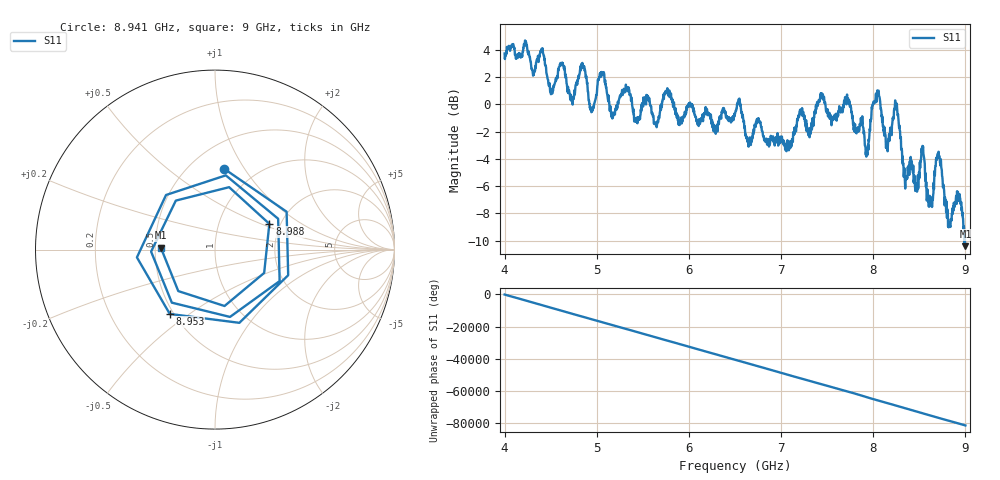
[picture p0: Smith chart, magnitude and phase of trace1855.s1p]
! Created with skrf 1.8.0 (http://scikit-rf.org).
# Hz S RI R 50.0
!freq ReS11 ImS11
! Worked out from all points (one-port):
!   1601 points, 4 GHz to 9 GHz, reference 50 ohm
!   lowest |S11| = -10.4 dB at 9 GHz (marker M1), VSWR 1.86, Z = 26.8 + j0.624 ohm
!   |S11| at or under -10 dB: 8.989742 GHz to 8.99354 GHz (3.799 MHz wide, 0.0422 % of centre); 8.994723 GHz to end of sweep
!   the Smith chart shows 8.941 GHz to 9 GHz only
!   S11 on the Smith chart (normalised r, x): 8.941 GHz: 0.72, +0.82; 8.953 GHz: 0.48, -0.42; 8.988 GHz: 1.75, +0.57; 9 GHz: 0.54, +0.01
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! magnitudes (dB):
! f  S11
! 4 GHz  3.7
! 4.406 GHz  3.8
! 4.503 GHz  0.7
! 4.625 GHz  3.1
! 4.728 GHz  0.3
! 4.844 GHz  3.0
! 4.944 GHz  -0.5
! 5.056 GHz  2.3
! 5.162 GHz  -0.6
! 5.25 GHz  0.6
! 5.875 GHz  -1.0
! 6.5 GHz  -0.7
! 7.125 GHz  -2.7
! 7.431 GHz  0.8
! 7.75 GHz  0.0
! 7.931 GHz  -3.6
! 8.034 GHz  0.2
! 8.15 GHz  -2.9
! 8.25 GHz  -0.3
! 8.375 GHz  -4.6
! 8.538 GHz  -3.2
! 8.622 GHz  -7.5
! 8.709 GHz  -3.5
! 8.825 GHz  -8.9
! 8.941 GHz  -6.9
! 8.953 GHz  -7.2
! 8.988 GHz  -9.5
! 9 GHz  -10.4
